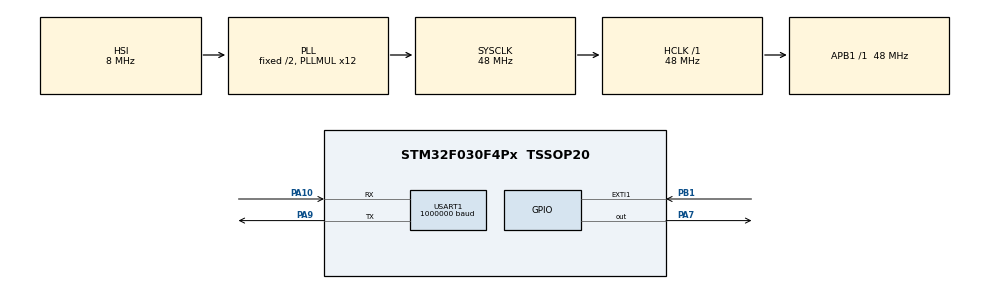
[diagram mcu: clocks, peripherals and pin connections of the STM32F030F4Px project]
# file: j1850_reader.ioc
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Mcu.Family=STM32F0
Mcu.Name=STM32F030F4Px
Mcu.Package=TSSOP20
NVIC.EXTI0_1_IRQn=true\:0\:0\:false\:false\:true\:true\:true\:true
NVIC.TIM17_IRQn=true\:0\:0\:false\:false\:true\:true\:true\:true
NVIC.USART1_IRQn=true\:0\:0\:false\:false\:true\:true\:true\:true
PA10.Mode=Asynchronous
PA10.Signal=USART1_RX
PA13.Mode=Serial_Wire
PA13.Signal=SYS_SWDIO
PA14.Mode=Serial_Wire
PA14.Signal=SYS_SWCLK
PA7.Signal=GPIO_Output
PA9.Mode=Asynchronous
PA9.Signal=USART1_TX
PB1.GPIO_ModeDefaultEXTI=GPIO_MODE_IT_RISING_FALLING
PB1.Signal=GPXTI1
ProjectManager.HeapSize=0x200
ProjectManager.StackSize=0x400
ProjectManager.TargetToolchain=Makefile
RCC.AHBFreq_Value=48000000
RCC.APB1Freq_Value=48000000
RCC.APB1TimFreq_Value=48000000
RCC.HCLKFreq_Value=48000000
RCC.PLLMUL=RCC_PLL_MUL12
RCC.SYSCLKFreq_VALUE=48000000
RCC.SYSCLKSource=RCC_SYSCLKSOURCE_PLLCLK
TIM17.Prescaler=470
USART1.BaudRate=1000000
USART1.VirtualMode-Asynchronous=VM_ASYNC
VP_TIM17_VS_ClockSourceINT.Mode=Enable_Timer
board=custom

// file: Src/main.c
/* USER CODE BEGIN Header */
/**
  ******************************************************************************
  * @file           : main.c
  * @brief          : Main program body
  ******************************************************************************
  * @attention
  *
  * Copyright (c) 2024 STMicroelectronics.
  * All rights reserved.
  *
  * This software is licensed under terms that can be found in the LICENSE file
  * in the root directory of this software component.
  * If no LICENSE file comes with this software, it is provided AS-IS.
  *
  ******************************************************************************
  */
/* USER CODE END Header */
#include "main.h"
#include "tim.h"
#include "usart.h"
#include "gpio.h"

/* USER CODE BEGIN PD */
#define tim_counter_on()    TIM17->CR1 |= TIM_CR1_CEN
#define tim_counter_off()    TIM17->CR1 &= ~TIM_CR1_CEN
#define tim_us()            TIM17->CNT
#define tim_int_on()        TIM17->DIER |= TIM_DIER_UIE
#define tim_int_off()       TIM17->DIER &= ~TIM_DIER_UIE
/* USER CODE END PD */

void SystemClock_Config(void);

/* USER CODE BEGIN 0 */
#define GAP 2     // us

#define SOF 48
#define SOF_MIN (SOF - GAP)
#define SOF_MAX (SOF + GAP)

#define SOF_H 32 // first half 32us
#define SOF_H_MIN (SOF_H - GAP)
#define SOF_H_MAX (SOF_H + GAP)

#define EOD_H 16 // first half 16us
#define EOD_H_MIN (EOD_H - GAP)
#define EOD_H_MAX (EOD_H + GAP)

#define EOF 72
#define EOF_MIN (EOF - GAP)
#define EOF_MAX (EOF + GAP)

#define BIT_LENGTH 24
#define BIT_LENGTH_MIN (BIT_LENGTH - GAP)
#define BIT_LENGTH_MAX (BIT_LENGTH + GAP)

#define LOW_H 16 // first half 16us
#define LOW_H_MIN (LOW_H - GAP)
#define LOW_H_MAX (LOW_H + GAP)

#define HIGH_H 8 // first half 8us
#define HIGH_H_MIN (HIGH_H - GAP)
#define HIGH_H_MAX (HIGH_H + GAP)

volatile uint16_t rising_marker = 0;   // time marker of rising front
volatile uint16_t falling_marker = 0;  // time marker of falling front
volatile uint8_t  byte_buffer = 0;
volatile uint8_t  bit_counter = 0;     // from 0 to 7
volatile uint8_t  data_pointer = 0;
volatile uint8_t  data_ready = 0;      // flag for start uart transmit
volatile uint8_t  data[24] = {0};
static const uint8_t hex[16] = {'0', '1', '2', '3', '4', '5', '6', '7','8', '9', 'A', 'B', 'C', 'D', 'E', 'F'};

void uart_char(int8_t buf) {                  // it faster then HAL
  while ((USART1->ISR & USART_ISR_TXE) == 0);
  USART1->TDR = (uint8_t) buf;
}

void HAL_GPIO_EXTI_Callback(uint16_t GPIO_Pin) {
  if(GPIO_Pin == GPIO_PIN_1) {                // input connect to PB1
    if (GPIOB->IDR & (1 << 1)) {             // rising front
      rising_marker = tim_us();
      tim_us() = 0;
      if (rising_marker <= SOF_MAX && rising_marker >= SOF_MIN) {  // if time between two rising fronts equal 48us
        if ((falling_marker) > (rising_marker - falling_marker)) { // 32/16 "SOF"
          data[0] = '>';
          data_pointer = 1;
        }
        else {                                                 // 16/32 "EOD"
          data[data_pointer] = ' ';
          data_pointer++;
        }
        bit_counter = 0b10000000;
        byte_buffer = 0;
      }
    }
    else {                                                    // falling front
      falling_marker = tim_us();
      if (falling_marker <= HIGH_H_MAX && falling_marker >= HIGH_H_MIN) {     // if time between rising fronts and falling front equal 16us (logic '1')
        byte_buffer |= bit_counter;                                        // else do nothing
      }
      bit_counter >>= 1;
      if (bit_counter == 0) {                                             // if byte have 8 bits
        data[data_pointer] = ' ';
        data[++data_pointer] = hex[byte_buffer >> 4];                       // transpose uint8_t to hex char
        data[++data_pointer] = hex[byte_buffer & 0xF];
        data_pointer++;
        bit_counter = 0b10000000;
        byte_buffer = 0;
      }
      tim_int_on();                                                       // set timer 17 interrupt for watch EOF
    }
  }
}

void HAL_TIM_PeriodElapsedCallback(TIM_HandleTypeDef *htim) {
  if(htim->Instance == TIM17) {
    if (data_pointer) {                                                    // if have some data in buffer
      data[data_pointer] = ' ';
      data[++data_pointer] = '<';
      data_pointer++;
      data_ready = 1;                                                     // set flag for print in main()
    }
    tim_int_off();
  }
}

/* USER CODE END 0 */

int main(void)
{

  /* MCU Configuration--------------------------------------------------------*/

  /* Reset of all peripherals, Initializes the Flash interface and the Systick. */
  HAL_Init();

  /* Configure the system clock */
  SystemClock_Config();

  /* Initialize all configured peripherals */
  MX_GPIO_Init();
  MX_USART1_UART_Init();
  MX_TIM17_Init();
  /* USER CODE BEGIN 2 */
  HAL_TIM_Base_Start_IT(&htim17);
  HAL_UART_Transmit_IT(&huart1, (uint8_t *)"j1850 pwm started\r\n", 19);
  /* USER CODE END 2 */

  /* Infinite loop */
  /* USER CODE BEGIN WHILE */
  while (1)
  {
    if (data_ready) {
      for (uint8_t i = 0; i < data_pointer; i++) {
        uart_char(data[i]);
        data[i] = 0;
      }
      uart_char('\r');
      uart_char('\n');
      data_ready = 0;
    }
    /* USER CODE END WHILE */

  }
}

void SystemClock_Config(void)
{
  RCC_OscInitTypeDef RCC_OscInitStruct = {0};
  RCC_ClkInitTypeDef RCC_ClkInitStruct = {0};
  RCC_PeriphCLKInitTypeDef PeriphClkInit = {0};

  /** Initializes the RCC Oscillators according to the specified parameters
  * in the RCC_OscInitTypeDef structure.
  */
  RCC_OscInitStruct.OscillatorType = RCC_OSCILLATORTYPE_HSI;
  RCC_OscInitStruct.HSIState = RCC_HSI_ON;
  RCC_OscInitStruct.HSICalibrationValue = RCC_HSICALIBRATION_DEFAULT;
  RCC_OscInitStruct.PLL.PLLState = RCC_PLL_ON;
  RCC_OscInitStruct.PLL.PLLSource = RCC_PLLSOURCE_HSI;
  RCC_OscInitStruct.PLL.PLLMUL = RCC_PLL_MUL12;
  RCC_OscInitStruct.PLL.PREDIV = RCC_PREDIV_DIV1;
  if (HAL_RCC_OscConfig(&RCC_OscInitStruct) != HAL_OK)
  {
    Error_Handler();
  }

  /** Initializes the CPU, AHB and APB buses clocks
  */
  RCC_ClkInitStruct.ClockType = RCC_CLOCKTYPE_HCLK|RCC_CLOCKTYPE_SYSCLK
                              |RCC_CLOCKTYPE_PCLK1;
  RCC_ClkInitStruct.SYSCLKSource = RCC_SYSCLKSOURCE_PLLCLK;
  RCC_ClkInitStruct.AHBCLKDivider = RCC_SYSCLK_DIV1;
  RCC_ClkInitStruct.APB1CLKDivider = RCC_HCLK_DIV1;

  if (HAL_RCC_ClockConfig(&RCC_ClkInitStruct, FLASH_LATENCY_1) != HAL_OK)
  {
    Error_Handler();
  }
  PeriphClkInit.PeriphClockSelection = RCC_PERIPHCLK_USART1;
  PeriphClkInit.Usart1ClockSelection = RCC_USART1CLKSOURCE_PCLK1;
  if (HAL_RCCEx_PeriphCLKConfig(&PeriphClkInit) != HAL_OK)
  {
    Error_Handler();
  }
}

void Error_Handler(void)
{
  __disable_irq();
  while (1)
  {
  }
}
